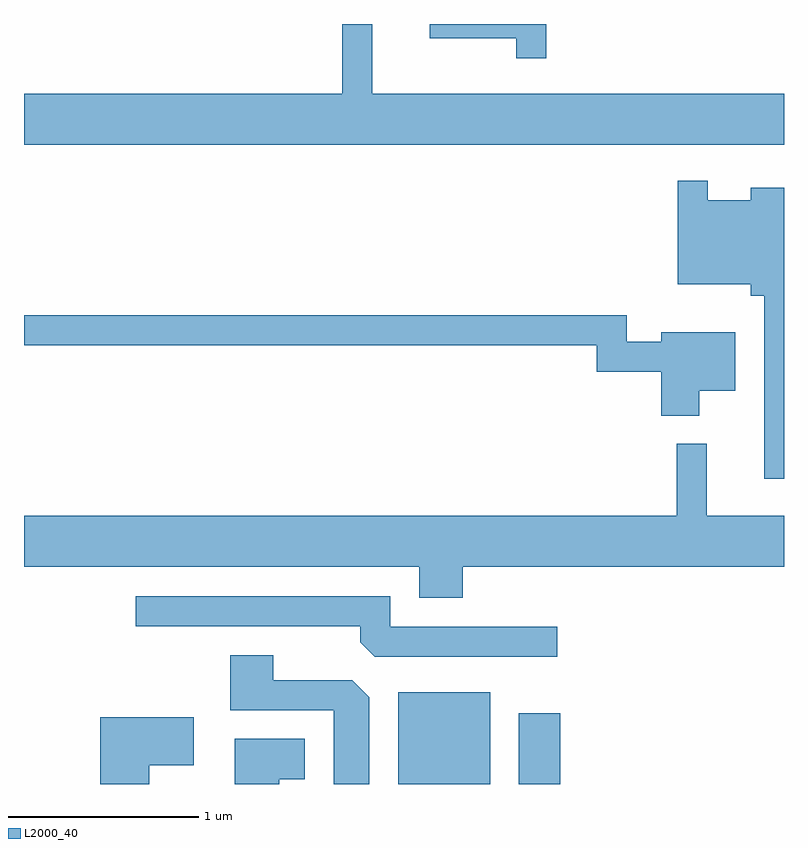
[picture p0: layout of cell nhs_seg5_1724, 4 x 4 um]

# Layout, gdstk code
import gdstk
lib = gdstk.Library(unit=1e-6, precision=1e-09)
def R(c, l, rs):  # rectangles x0, y0, x1, y1
    for r in rs: c.add(gdstk.rectangle(r[:2], r[2:], *l))
def P(c, l, *ps):  # polygons
    for p in ps: c.add(gdstk.Polygon(p, *l))
L2000_40 = (2000, 40)

nhs_seg5_1724 = lib.new_cell('nhs_seg5_1724')
R(nhs_seg5_1724, L2000_40, [(237.581,1480.072,238.064,1480.554), (238.216,1480.072,238.434,1480.444)])
P(nhs_seg5_1724, L2000_40, [(239.611,1483.704),(237.444,1483.704),(237.444,1484.072),(237.286,1484.072),(237.286,1483.704),(235.611,1483.704),(235.611,1483.436),(239.611,1483.436)],
  [(238.359,1484.072),(237.746,1484.072),(237.746,1483.996),(238.201,1483.996),(238.201,1483.893),(238.359,1483.893)],
  [(239.611,1483.209),(239.436,1483.209),(239.436,1483.144),(239.209,1483.144),(239.209,1483.248),(239.051,1483.248),(239.051,1482.701),(239.436,1482.701),(239.436,1482.641),(239.506,1482.641),(239.506,1481.678),(239.611,1481.678)],
  [(239.164,1482.141),(239.354,1482.141),(239.354,1482.449),(238.966,1482.449),(238.966,1482.399),(238.784,1482.399),(238.784,1482.539),(235.611,1482.539),(235.611,1482.381),(238.626,1482.381),(238.626,1482.241),(238.966,1482.241),(238.966,1482.011),(239.164,1482.011)],
  [(237.919,1481.216),(239.611,1481.216),(239.611,1481.484),(239.204,1481.484),(239.204,1481.863),(239.046,1481.863),(239.046,1481.484),(235.611,1481.484),(235.611,1481.216),(237.691,1481.216),(237.691,1481.051),(237.919,1481.051)],
  [(238.418,1480.899),(237.539,1480.899),(237.539,1481.059),(236.198,1481.059),(236.198,1480.901),(237.381,1480.901),(237.381,1480.817),(237.457,1480.741),(238.418,1480.741)],
  [(237.429,1480.529),(237.339,1480.619),(236.924,1480.619),(236.924,1480.749),(236.696,1480.749),(236.696,1480.461),(237.241,1480.461),(237.241,1480.072),(237.429,1480.072)],
  [(236.269,1480.171),(236.504,1480.171),(236.504,1480.424),(236.011,1480.424),(236.011,1480.072),(236.269,1480.072)],
  [(236.954,1480.096),(237.089,1480.096),(237.089,1480.309),(236.721,1480.309),(236.721,1480.072),(236.954,1480.072)])

lib.write_gds('nhs_seg5_1724.gds')
